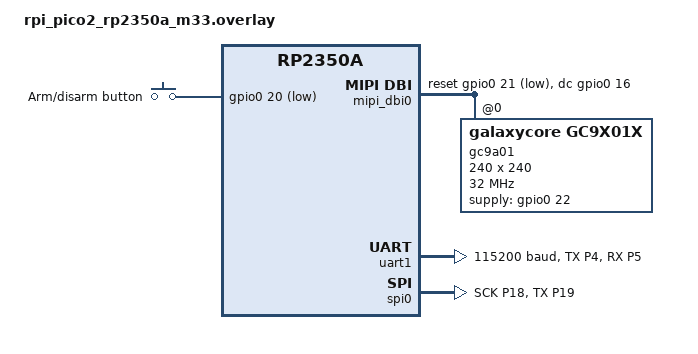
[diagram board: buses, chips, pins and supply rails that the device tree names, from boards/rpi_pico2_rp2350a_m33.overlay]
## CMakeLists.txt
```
cmake_minimum_required(VERSION 3.20.0)

find_package(Zephyr REQUIRED HINTS $ENV{ZEPHYR_BASE})
project(base_node)

target_sources(app PRIVATE
    src/main.c
    src/base_display.c
)

# Make the shared protocol header accessible
target_include_directories(app PRIVATE ${CMAKE_CURRENT_SOURCE_DIR}/../common)
```

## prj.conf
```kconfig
CONFIG_SERIAL=y
CONFIG_UART_INTERRUPT_DRIVEN=y

# Console
CONFIG_CONSOLE=y
CONFIG_UART_CONSOLE=y
CONFIG_PRINTK=y

# GPIO button interrupt on GP20
CONFIG_GPIO=y

# WS2812 RGB LED on Pico PIO GP28
CONFIG_LED_STRIP=y
CONFIG_WS2812_STRIP_RPI_PICO_PIO=y

# Logging
CONFIG_LOG=y
CONFIG_LOG_DEFAULT_LEVEL=3

CONFIG_MAIN_STACK_SIZE=3072
CONFIG_HEAP_MEM_POOL_SIZE=2048

# GC9A01 / GC9x01x display on SPI through Zephyr display API
CONFIG_SPI=y
CONFIG_DISPLAY=y
CONFIG_MIPI_DBI=y
CONFIG_MIPI_DBI_SPI=y
CONFIG_GC9X01X=y
```

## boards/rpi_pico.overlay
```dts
/*
 * base_node/boards/rpi_pico.overlay
 *
 * Configures UART0 on RP2040 Pico for communication with the sensor node.
 *
 * Pins:
 *   GP0 = TX  (connect to Sensor GP5/UART1-RX)
 *   GP1 = RX  (connect to Sensor GP4/UART1-TX)
 *
 * Baud rate: 115200
 */

&uart0 {
	status = "okay";
	current-speed = <115200>;
	pinctrl-0 = <&uart0_default>;
	pinctrl-names = "default";
};

&pinctrl {
	uart0_default: uart0_default {
		group1 {
			pinmux = <UART0_TX_P0>;   /* GP0 → TX */
		};
		group2 {
			pinmux = <UART0_RX_P1>;   /* GP1 → RX */
			input-enable;
		};
	};
};
```

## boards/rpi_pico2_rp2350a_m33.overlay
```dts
#include <zephyr/dt-bindings/led/led.h>
#include <zephyr/dt-bindings/pinctrl/rpi-pico-rp2350a-pinctrl.h>
#include <zephyr/dt-bindings/gpio/gpio.h>
#include <zephyr/dt-bindings/display/panel.h>

&pinctrl {
    uart1_default: uart1_default {
        group1 {
            pinmux = <UART1_TX_P4>;
        };

        group2 {
            pinmux = <UART1_RX_P5>;
            input-enable;
        };
    };

    ws2812_pio0_default: ws2812_pio0_default {
        group1 {
            pinmux = <PIO0_P28>;
        };
    };

    spi0_default: spi0_default {
        group1 {
            pinmux = <SPI0_SCK_P18>,
                     <SPI0_TX_P19>;
        };
    };

};

&uart1 {
    status = "okay";
    current-speed = <115200>;
    pinctrl-0 = <&uart1_default>;
    pinctrl-names = "default";
};

&pio0 {
    status = "okay";

    pio_ws2812: pio-ws2812 {
        compatible = "worldsemi,ws2812-rpi_pico-pio";
        status = "okay";
        pinctrl-0 = <&ws2812_pio0_default>;
        pinctrl-names = "default";
        bit-waveform = <3>, <3>, <4>;

        rgb_led: ws2812 {
            status = "okay";
            gpios = <&gpio0 28 GPIO_ACTIVE_HIGH>;
            chain-length = <1>;
            color-mapping = <LED_COLOR_ID_GREEN LED_COLOR_ID_RED LED_COLOR_ID_BLUE>;
            frequency = <800000>;
            reset-delay = <280>;
        };
    };
};


&spi0 {
    status = "okay";
    pinctrl-0 = <&spi0_default>;
    pinctrl-names = "default";
    cs-gpios = <&gpio0 17 GPIO_ACTIVE_LOW>;
};

/ {
    mipi_dbi0: mipi-dbi {
        compatible = "zephyr,mipi-dbi-spi";
        status = "okay";
        #address-cells = <1>;
        #size-cells = <0>;
        spi-dev = <&spi0>;
        dc-gpios = <&gpio0 16 GPIO_ACTIVE_HIGH>;
        reset-gpios = <&gpio0 21 GPIO_ACTIVE_LOW>;

        gc9a01: gc9a01@0 {
            compatible = "galaxycore,gc9x01x";
            reg = <0>;
            status = "okay";
            width = <240>;
            height = <240>;
            pixel-format = <PANEL_PIXEL_FORMAT_RGB_565>;
            mipi-max-frequency = <32000000>;
            display-inversion;
            orientation = "normal";
            supply-gpios = <&gpio0 22 GPIO_ACTIVE_HIGH>;
        };
    };
};

/ {
    chosen {
        zephyr,led-strip = &rgb_led;
        zephyr,display = &gc9a01;
    };

    aliases {
        led-strip = &rgb_led;
        sw0 = &arm_button;
    };

    buttons {
        compatible = "gpio-keys";

        arm_button: arm_button {
            gpios = <&gpio0 20 (GPIO_PULL_UP | GPIO_ACTIVE_LOW)>;
            label = "Arm/disarm button";
        };
    };
};
```

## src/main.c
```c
/*
 * base_node/src/main.c
 *
 * Base node — Raspberry Pi Pico 2 (RP2350)
 * - Talks to the sensor node over UART1
 * - GP20 button toggles ARMED / DISARMED using a GPIO interrupt callback
 * - WS2812 RGB LED on GP28 shows state:
 *      Blue  = DISARMED
 *      Green = ARMED
 *      Red   = ALARM / theft detected
 * - When ARMED, accelerometer, gyro, or hall-effect changes trigger alarm command
 */

#include <errno.h>
#include <stdlib.h>
#include <string.h>
#include <zephyr/kernel.h>
#include <zephyr/device.h>
#include <zephyr/drivers/uart.h>
#include <zephyr/drivers/gpio.h>
#include <zephyr/drivers/led_strip.h>
#include <zephyr/sys/printk.h>
#include "../../common/protocol.h"
#include "base_display.h"

#define COMMS_UART_NODE   DT_NODELABEL(uart1)
#define RGB_LED_NODE      DT_ALIAS(led_strip)
#define ARM_BUTTON_NODE   DT_ALIAS(sw0)

#define POLL_INTERVAL_MS  1000
#define RX_TIMEOUT_MS     500
#define ALARM_TIME_MS     1200
#define BUTTON_DEBOUNCE_MS 250

/* Tune these after seeing your real printed values. */
#define ACCEL_DELTA_THRESHOLD   60
#define GYRO_ABS_THRESHOLD      20
#define HALL_ABS_THRESHOLD      500

static const struct device *comms_uart;
static const struct device *rgb_led = DEVICE_DT_GET(RGB_LED_NODE);
static const struct gpio_dt_spec arm_button = GPIO_DT_SPEC_GET(ARM_BUTTON_NODE, gpios);
static struct gpio_callback arm_button_cb_data;

static volatile bool button_event;
static int64_t last_button_ms;
static bool armed;
static bool alarm_active;
static int64_t alarm_until_ms;

static bool rgb_ready;

static void status_rgb_set(uint8_t r, uint8_t g, uint8_t b)
{
    if (!rgb_ready) {
        return;
    }

    struct led_rgb pixel = {
        .r = r,
        .g = g,
        .b = b,
    };

    int ret = led_strip_update_rgb(rgb_led, &pixel, 1);
    if (ret != 0) {
        printk("[BASE] RGB update failed: %d\n", ret);
    }
}

static void update_state_led(void)
{
    if (alarm_active) {
        status_rgb_set(50, 0, 0);      /* red */
    } else if (armed) {
        status_rgb_set(0, 50, 0);      /* green */
    } else {
        status_rgb_set(0, 0, 40);      /* blue */
    }
}

static void arm_button_isr(const struct device *dev, struct gpio_callback *cb, uint32_t pins)
{
    ARG_UNUSED(dev);
    ARG_UNUSED(cb);
    ARG_UNUSED(pins);

    int64_t now = k_uptime_get();

    /* Simple ISR-side debounce. The main loop does the actual state change. */
    if ((now - last_button_ms) >= BUTTON_DEBOUNCE_MS) {
        last_button_ms = now;
        button_event = true;
    }
}

static void handle_button_event(void)
{
    if (!button_event) {
        return;
    }

    button_event = false;
    armed = !armed;
    alarm_active = false;

    printk("[BASE] System state: %s\n", armed ? "ARMED" : "DISARMED");
    update_state_led();
    struct base_display_values v = { .armed = armed, .alarm_active = alarm_active };
    base_display_update(&v);
}

static void uart_send_bytes(const uint8_t *buf, size_t len)
{
    for (size_t i = 0; i < len; i++) {
        uart_poll_out(comms_uart, buf[i]);
    }
}

static bool uart_recv_bytes(uint8_t *buf, size_t len)
{
    int64_t deadline = k_uptime_get() + RX_TIMEOUT_MS;

    for (size_t i = 0; i < len;) {
        unsigned char c;
        if (uart_poll_in(comms_uart, &c) == 0) {
            buf[i++] = c;
        } else {
            if (k_uptime_get() > deadline) {
                return false;
            }
            k_sleep(K_USEC(100));
        }
    }

    return true;
}

static bool send_command(proto_cmd_t cmd,
                         const uint8_t *payload, uint8_t payload_len,
                         proto_frame_t *rsp_out)
{
    proto_frame_t cmd_frame = {
        .stx = PROTO_STX,
        .cmd = (uint8_t)cmd,
        .len = payload_len,
    };

    if (payload_len > 0 && payload != NULL) {
        memcpy(cmd_frame.payload, payload, payload_len);
    }

    uint8_t tx_buf[4 + PROTO_MAX_PAYLOAD];
    size_t tx_len = proto_encode(&cmd_frame, tx_buf, sizeof(tx_buf));
    if (tx_len == 0) {
        printk("[BASE] Encode error\n");
        return false;
    }

    uart_send_bytes(tx_buf, tx_len);

    uint8_t hdr[3];
    uint8_t c;

    do {
        if (!uart_recv_bytes(&c, 1)) {
            printk("[BASE] No response/STX\n");
            return false;
        }
    } while (c != PROTO_STX);

    hdr[0] = c;

    if (!uart_recv_bytes(&hdr[1], 2)) {
        printk("[BASE] Incomplete response header\n");
        return false;
    }

    uint8_t rsp_len = hdr[2];
    if (rsp_len > PROTO_MAX_PAYLOAD) {
        printk("[BASE] Response payload too large: %u\n", rsp_len);
        return false;
    }

    uint8_t tail[PROTO_MAX_PAYLOAD + 1];
    if (!uart_recv_bytes(tail, rsp_len + 1u)) {
        printk("[BASE] Response payload timeout\n");
        return false;
    }

    uint8_t full[4 + PROTO_MAX_PAYLOAD];
    full[0] = hdr[0];
    full[1] = hdr[1];
    full[2] = hdr[2];
    memcpy(&full[3], tail, rsp_len + 1u);

    if (!proto_decode(full, 3u + rsp_len + 1u, rsp_out)) {
        printk("[BASE] Bad response CRC\n");
        return false;
    }

    return true;
}

static int16_t get_i16(const uint8_t *p)
{
    return (int16_t)(((uint16_t)p[0] << 8) | p[1]);
}

static bool send_alarm_command(void)
{
    proto_frame_t rsp;

    printk("[BASE] -> SOUND_ALARM\n");
    if (!send_command(CMD_SOUND_ALARM, NULL, 0, &rsp)) {
        printk("[BASE] Alarm command failed\n");
        return false;
    }

    if (rsp.cmd != RSP_ACK) {
        printk("[BASE] Alarm command unexpected response: 0x%02X\n", rsp.cmd);
        return false;
    }

    return true;
}

static bool detect_accel_theft(int16_t ax, int16_t ay, int16_t az)
{
    static bool have_prev;
    static int16_t prev_ax;
    static int16_t prev_ay;
    static int16_t prev_az;

    if (!have_prev) {
        prev_ax = ax;
        prev_ay = ay;
        prev_az = az;
        have_prev = true;
        return false;
    }

    int dx = abs(ax - prev_ax);
    int dy = abs(ay - prev_ay);
    int dz = abs(az - prev_az);

    prev_ax = ax;
    prev_ay = ay;
    prev_az = az;

    return (dx > ACCEL_DELTA_THRESHOLD ||
            dy > ACCEL_DELTA_THRESHOLD ||
            dz > ACCEL_DELTA_THRESHOLD);
}

static bool detect_gyro_theft(int16_t gx, int16_t gy, int16_t gz)
{
    return (abs(gx) > GYRO_ABS_THRESHOLD ||
            abs(gy) > GYRO_ABS_THRESHOLD ||
            abs(gz) > GYRO_ABS_THRESHOLD);
}

static bool detect_hall_theft(int16_t hall)
{
    return (hall > HALL_ABS_THRESHOLD || hall < -HALL_ABS_THRESHOLD);
}

static void trigger_alarm_if_needed(bool theft)
{
    if (!armed || !theft || alarm_active) {
        return;
    }

    printk("[BASE] THEFT DETECTED while ARMED\n");
    alarm_active = true;
    alarm_until_ms = k_uptime_get() + ALARM_TIME_MS;
    update_state_led();
    send_alarm_command();
}

static void handle_alarm_timeout(void)
{
    if (alarm_active && k_uptime_get() >= alarm_until_ms) {
        alarm_active = false;
        update_state_led();
        struct base_display_values v = { .armed = armed, .alarm_active = alarm_active };
        base_display_update(&v);
    }
}

static void do_ping(void)
{
    proto_frame_t rsp;
    printk("[BASE] -> PING\n");

    if (send_command(CMD_PING, NULL, 0, &rsp)) {
        printk("[BASE] <- %s\n", rsp.cmd == RSP_ACK ? "ACK" : "unexpected response");
    }
}

static void do_read_all(void)
{
    proto_frame_t rsp;

    if (!send_command(CMD_READ_ALL, NULL, 0, &rsp)) {
        return;
    }

    if (rsp.cmd != RSP_ALL || rsp.len != 16) {
        printk("[BASE] Unexpected READ_ALL response: cmd=0x%02X len=%u\n", rsp.cmd, rsp.len);
        return;
    }

    uint16_t light_raw = ((uint16_t)rsp.payload[0] << 8) | rsp.payload[1];
    int16_t ax = get_i16(&rsp.payload[2]);
    int16_t ay = get_i16(&rsp.payload[4]);
    int16_t az = get_i16(&rsp.payload[6]);
    int16_t gx = get_i16(&rsp.payload[8]);
    int16_t gy = get_i16(&rsp.payload[10]);
    int16_t gz = get_i16(&rsp.payload[12]);
    int16_t hall = get_i16(&rsp.payload[14]);

    bool accel_theft = detect_accel_theft(ax, ay, az);
    bool gyro_theft = detect_gyro_theft(gx, gy, gz);
    bool hall_theft = detect_hall_theft(hall);
    bool theft = accel_theft || gyro_theft || hall_theft;

    struct base_display_values display_values = {
        .armed = armed,
        .alarm_active = alarm_active,
        .accel_theft = accel_theft,
        .gyro_theft = gyro_theft,
        .hall_theft = hall_theft,
        .light_raw = light_raw,
        .ax = ax, .ay = ay, .az = az,
        .gx = gx, .gy = gy, .gz = gz,
        .hall = hall,
    };
    base_display_update(&display_values);

    printk("[BASE] %s light=%u acc=(%d,%d,%d) gyro=(%d,%d,%d) hall=%d\n",
           armed ? "ARMED" : "DISARMED",
           light_raw, ax, ay, az, gx, gy, gz, hall);

    printk("[BASE] theft flags: accel=%s gyro=%s hall=%s\n",
           accel_theft ? "YES" : "no",
           gyro_theft ? "YES" : "no",
           hall_theft ? "YES" : "no");

    trigger_alarm_if_needed(theft);
}

static int setup_button(void)
{
    if (!gpio_is_ready_dt(&arm_button)) {
        printk("[BASE] GP20 arm button GPIO not ready\n");
        return -ENODEV;
    }

    int ret = gpio_pin_configure_dt(&arm_button, GPIO_INPUT);
    if (ret != 0) {
        printk("[BASE] Button configure failed: %d\n", ret);
        return ret;
    }

    ret = gpio_pin_interrupt_configure_dt(&arm_button, GPIO_INT_EDGE_TO_ACTIVE);
    if (ret != 0) {
        printk("[BASE] Button interrupt configure failed: %d\n", ret);
        return ret;
    }

    gpio_init_callback(&arm_button_cb_data, arm_button_isr, BIT(arm_button.pin));
    ret = gpio_add_callback(arm_button.port, &arm_button_cb_data);
    if (ret != 0) {
        printk("[BASE] Button callback add failed: %d\n", ret);
        return ret;
    }

    printk("[BASE] GP20 arm/disarm button ready using GPIO interrupt\n");
    return 0;
}

int main(void)
{
    printk("=== Base Node starting ===\n");

    comms_uart = DEVICE_DT_GET(COMMS_UART_NODE);
    if (!device_is_ready(comms_uart)) {
        printk("[BASE] UART not ready\n");
        return -1;
    }

    rgb_ready = device_is_ready(rgb_led);
    if (!rgb_ready) {
        printk("[BASE] RGB LED not ready\n");
    } else {
        printk("[BASE] RGB LED ready\n");
    }

    if (setup_button() != 0) {
        printk("[BASE] Continuing without button\n");
    }

    if (base_display_init() != 0) {
        printk("[BASE] Continuing without display\n");
    }

    armed = false;
    alarm_active = false;
    update_state_led();

    k_sleep(K_MSEC(500));
    do_ping();

    while (1) {
        handle_button_event();
        handle_alarm_timeout();
        do_read_all();
        handle_button_event();
        handle_alarm_timeout();
        k_sleep(K_MSEC(POLL_INTERVAL_MS));
    }

    return 0;
}
```

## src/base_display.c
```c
/*
 * base_display.c  —  Upp-Lock base node display
 *
 * Target : 240×240 GC9A01 round TFT, RGB565, Zephyr gc9x01x SPI driver
 * Render : raw display_write(), no LVGL
 *
 * Design decisions for physical readability on 1.28":
 *   - Minimum text scale 2 (10×14 px glyphs) for labels
 *   - Scale 3 (15×21 px) for primary values
 *   - High-contrast colours only: white/bright-teal/bright-red on near-black
 *   - State banner fills full width (rect, not arc) — arcs via display API
 *     look poor without antialiasing; a solid chord band reads clearly
 *   - Sensor blocks split left/right of a centre lock icon
 *   - Trigger badges at bottom use filled rects with strong border contrast
 */

#include "base_display.h"

#include <errno.h>
#include <stdio.h>
#include <string.h>
#include <zephyr/device.h>
#include <zephyr/drivers/display.h>
#include <zephyr/kernel.h>
#include <zephyr/sys/printk.h>
#include <zephyr/sys/util.h>

/* ── Display geometry ─────────────────────────────────── */
#define DISPLAY_NODE  DT_CHOSEN(zephyr_display)
#define LCD_W  240
#define LCD_H  240
#define CX     120
#define CY     120

/* ── RGB565 macro ─────────────────────────────────────── */
#define RGB565(r,g,b) \
    ((uint16_t)((((r)&0xF8u)<<8)|(((g)&0xFCu)<<3)|((b)>>3)))

/*
 * Palette — all colours validated for visibility on IPS TFT:
 *   • Background is not pure black so the backlight doesn't blow out whites
 *   • State colours are at full saturation — no dim variants on-screen
 *   • Label text is mid-brightness, value text is near-white
 */
#define C_BG        RGB565( 10,  10,  20)   /* dark blue-black             */
#define C_DIVIDER   RGB565( 30,  40,  60)   /* subtle separator lines      */

/* State banner colours — solid, full saturation */
#define C_TEAL      RGB565(  0, 220, 160)   /* ARMED  — bright teal        */
#define C_TEAL_BG   RGB565(  0,  50,  36)   /* ARMED banner background     */
#define C_BLUE      RGB565( 60, 140, 255)   /* DISARMED — bright blue      */
#define C_BLUE_BG   RGB565(  8,  28,  70)   /* DISARMED banner background  */
#define C_RED       RGB565(255,  40,  60)   /* ALARM  — bright red         */
#define C_RED_BG    RGB565( 70,   6,  12)   /* ALARM banner background     */

/* Data value colours — bright enough to read at arm's length */
#define C_WHITE     RGB565(240, 245, 255)   /* primary values              */
#define C_CYAN      RGB565( 80, 230, 255)   /* light sensor value          */
#define C_ACC_VAL   RGB565(140, 255, 200)   /* accel values (mint green)   */
#define C_GYR_VAL   RGB565(160, 170, 255)   /* gyro values (lavender)      */
#define C_HALL_VAL  RGB565(200, 220, 255)   /* hall value (ice blue)       */
#define C_AMBER     RGB565(255, 185,   0)   /* triggered badge / warning   */
#define C_AMBER_BG  RGB565( 45,  28,   0)   /* triggered badge bg          */

/* Label / dim text — still clearly visible, just secondary */
#define C_LABEL     RGB565(100, 140, 160)   /* section titles              */
#define C_HINT      RGB565( 60,  80, 100)   /* GP20 hint at bottom         */
#define C_BADGE_OFF RGB565( 25,  35,  55)   /* inactive badge fill         */
#define C_BADGE_BDR RGB565( 50,  70,  100)  /* inactive badge border       */

/* ── Globals ───────────────────────────────────────────── */
static const struct device *display_dev;
static bool display_ready;

/* ── Scan-line draw buffer (one row at a time) ─────────── */
static uint16_t linebuf[LCD_W];

static void rect(int x, int y, int w, int h, uint16_t color)
{
    if (!display_ready || w <= 0 || h <= 0) return;
    if (x < 0) { w += x; x = 0; }
    if (y < 0) { h += y; y = 0; }
    if (x >= LCD_W || y >= LCD_H) return;
    if (x + w > LCD_W) w = LCD_W - x;
    if (y + h > LCD_H) h = LCD_H - y;
    if (w <= 0 || h <= 0) return;

    for (int i = 0; i < w; i++) linebuf[i] = color;
    struct display_buffer_descriptor d = {
        .buf_size = (size_t)w * 2u,
        .width    = (uint16_t)w,
        .height   = 1,
        .pitch    = (uint16_t)w,
    };
    for (int row = 0; row < h; row++)
        display_write(display_dev, x, y + row, &d, linebuf);
}

/* horizontal line helper */
static void hline(int x, int y, int w, uint16_t color)
{
    rect(x, y, w, 1, color);
}

/* ── 5×7 bitmap font ───────────────────────────────────── */
struct glyph { char c; uint8_t col[5]; };
static const struct glyph font5x7[] = {
    {' ',{0x00,0x00,0x00,0x00,0x00}},
    {'-',{0x08,0x08,0x08,0x08,0x08}},
    {'+',{0x08,0x08,0x3E,0x08,0x08}},
    {'.',{0x00,0x60,0x60,0x00,0x00}},
    {':',{0x00,0x36,0x36,0x00,0x00}},
    {'0',{0x3E,0x51,0x49,0x45,0x3E}},
    {'1',{0x00,0x42,0x7F,0x40,0x00}},
    {'2',{0x42,0x61,0x51,0x49,0x46}},
    {'3',{0x21,0x41,0x45,0x4B,0x31}},
    {'4',{0x18,0x14,0x12,0x7F,0x10}},
    {'5',{0x27,0x45,0x45,0x45,0x39}},
    {'6',{0x3C,0x4A,0x49,0x49,0x30}},
    {'7',{0x01,0x71,0x09,0x05,0x03}},
    {'8',{0x36,0x49,0x49,0x49,0x36}},
    {'9',{0x06,0x49,0x49,0x29,0x1E}},
    {'A',{0x7E,0x11,0x11,0x11,0x7E}},
    {'B',{0x7F,0x49,0x49,0x49,0x36}},
    {'C',{0x3E,0x41,0x41,0x41,0x22}},
    {'D',{0x7F,0x41,0x41,0x22,0x1C}},
    {'E',{0x7F,0x49,0x49,0x49,0x41}},
    {'F',{0x7F,0x09,0x09,0x09,0x01}},
    {'G',{0x3E,0x41,0x49,0x49,0x7A}},
    {'H',{0x7F,0x08,0x08,0x08,0x7F}},
    {'I',{0x00,0x41,0x7F,0x41,0x00}},
    {'J',{0x20,0x40,0x41,0x3F,0x01}},
    {'K',{0x7F,0x08,0x14,0x22,0x41}},
    {'L',{0x7F,0x40,0x40,0x40,0x40}},
    {'M',{0x7F,0x02,0x0C,0x02,0x7F}},
    {'N',{0x7F,0x04,0x08,0x10,0x7F}},
    {'O',{0x3E,0x41,0x41,0x41,0x3E}},
    {'P',{0x7F,0x09,0x09,0x09,0x06}},
    {'Q',{0x3E,0x41,0x51,0x21,0x5E}},
    {'R',{0x7F,0x09,0x19,0x29,0x46}},
    {'S',{0x46,0x49,0x49,0x49,0x31}},
    {'T',{0x01,0x01,0x7F,0x01,0x01}},
    {'U',{0x3F,0x40,0x40,0x40,0x3F}},
    {'V',{0x1F,0x20,0x40,0x20,0x1F}},
    {'W',{0x3F,0x40,0x38,0x40,0x3F}},
    {'X',{0x63,0x14,0x08,0x14,0x63}},
    {'Y',{0x07,0x08,0x70,0x08,0x07}},
    {'Z',{0x61,0x51,0x49,0x45,0x43}},
    {'a',{0x20,0x54,0x54,0x54,0x78}},
    {'c',{0x38,0x44,0x44,0x44,0x20}},
    {'d',{0x38,0x44,0x44,0x48,0x7F}},
    {'e',{0x38,0x54,0x54,0x54,0x18}},
    {'g',{0x08,0x54,0x54,0x54,0x3C}},
    {'h',{0x7F,0x08,0x04,0x04,0x78}},
    {'i',{0x00,0x44,0x7D,0x40,0x00}},
    {'l',{0x00,0x41,0x7F,0x40,0x00}},
    {'m',{0x7C,0x04,0x18,0x04,0x78}},
    {'n',{0x7C,0x08,0x04,0x04,0x78}},
    {'o',{0x38,0x44,0x44,0x44,0x38}},
    {'r',{0x7C,0x08,0x04,0x04,0x08}},
    {'s',{0x48,0x54,0x54,0x54,0x20}},
    {'t',{0x04,0x3F,0x44,0x40,0x20}},
    {'u',{0x3C,0x40,0x40,0x20,0x7C}},
    {'w',{0x3C,0x40,0x30,0x40,0x3C}},
    {'x',{0x44,0x28,0x10,0x28,0x44}},
    {'y',{0x0C,0x50,0x50,0x50,0x3C}},
};

static const uint8_t *glyph_for(char c)
{
    for (size_t i = 0; i < ARRAY_SIZE(font5x7); i++)
        if (font5x7[i].c == c) return font5x7[i].col;
    return font5x7[0].col;
}

/*
 * Draw a string at (x,y), scale pixels per dot, colour on bg.
 * Glyph cell = (5+1)*scale wide, 7*scale tall.
 */
static void text(int x, int y, const char *s,
                 uint16_t color, uint16_t bg, int scale)
{
    if (!display_ready || scale < 1) return;
    for (; *s; s++) {
        const uint8_t *g = glyph_for(*s);
        for (int col = 0; col < 5; col++) {
            for (int row = 0; row < 7; row++) {
                uint16_t c = (g[col] & BIT(row)) ? color : bg;
                rect(x + col*scale, y + row*scale, scale, scale, c);
            }
        }
        rect(x + 5*scale, y, scale, 7*scale, bg); /* inter-char gap */
        x += 6 * scale;
    }
}

/* centred text */
static void ctext(int y, const char *s, uint16_t fg, uint16_t bg, int scale)
{
    int w = (int)strlen(s) * 6 * scale;
    text((LCD_W - w) / 2, y, s, fg, bg, scale);
}

/* right-aligned text */
static void rtext(int rx, int y, const char *s,
                  uint16_t fg, uint16_t bg, int scale)
{
    int w = (int)strlen(s) * 6 * scale;
    text(rx - w, y, s, fg, bg, scale);
}

/* ── Chord-clipped banner ──────────────────────────────────────────────────
 * Draws a horizontal filled band from y0..y1 clipped to the circle of
 * radius R centred at (CX,CY).  Gives the "arc band" look without any
 * trigonometry or pixel-by-pixel loops.
 */
static void chord_band(int y0, int y1, uint16_t color)
{
    const int R  = 118;   /* clip radius — 1 px inside the 240 px circle */
    const int R2 = R * R;
    for (int y = y0; y <= y1; y++) {
        int dy  = y - CY;
        int dx2 = R2 - dy*dy;
        if (dx2 < 0) continue;
        /* integer sqrt via bisection — runs ≤17 iterations */
        int dx = R;
        while (dx * dx > dx2) dx--;
        int x0 = CX - dx, x1_v = CX + dx;
        if (x0 < 0)     x0   = 0;
        if (x1_v >= LCD_W) x1_v = LCD_W - 1;
        if (x1_v >= x0)
            rect(x0, y, x1_v - x0 + 1, 1, color);
    }
}

/* ── Lock icon  (pixel art, 20×24 at given top-left) ──────────────────────*/
static void draw_lock(int cx2, int top_y, uint16_t color, bool open)
{
    /*
     * Shackle: two vertical lines + top arc approximated as 3-pixel top.
     * Body: 20×13 rectangle with a keyhole.
     */
    int lx = cx2 - 10;   /* left edge of body */
    int sh_top = top_y;
    int body_y = sh_top + 11;

    /* shackle */
    int sl = lx + 3, sr = lx + 16;
    if (open) {
        /* right arm lifted off body */
        for (int y = sh_top; y < sh_top + 7; y++) rect(sl, y, 2, 1, color);
        hline(sl, sh_top, sr - sl + 2, color);
        hline(sl, sh_top+1, sr - sl + 2, color);
        /* right pillar stops 4px above body */
        for (int y = body_y - 4; y < body_y; y++) rect(sr, y, 2, 1, color);
    } else {
        /* both pillars go from sh_top down to body */
        for (int y = sh_top; y < body_y; y++) {
            rect(sl, y, 2, 1, color);
            rect(sr, y, 2, 1, color);
        }
        hline(sl, sh_top, sr - sl + 2, color);
        hline(sl, sh_top+1, sr - sl + 2, color);
    }

    /* body outline */
    int bw = 20, bh = 13;
    hline(lx,      body_y,        bw, color);
    hline(lx,      body_y+bh-1,   bw, color);
    for (int y = body_y; y < body_y+bh; y++) {
        rect(lx,      y, 1, 1, color);
        rect(lx+bw-1, y, 1, 1, color);
    }

    /* keyhole — circle + slot */
    rect(cx2-2, body_y+3, 5, 4, color);   /* rough circle */
    rect(cx2-1, body_y+6, 3, 4, color);   /* slot down    */
}

/* ── Bordered badge (36×16) ────────────────────────────── */
static void badge(int cx2, int cy2, const char *label, bool active)
{
    uint16_t fill = active ? C_AMBER_BG  : C_BADGE_OFF;
    uint16_t bdr  = active ? C_AMBER     : C_BADGE_BDR;
    uint16_t fg   = active ? C_AMBER     : C_LABEL;

    int x = cx2 - 18, y = cy2 - 8;
    rect(x, y, 36, 16, fill);
    hline(x,    y,    36, bdr);
    hline(x,    y+15, 36, bdr);
    for (int i = 0; i < 16; i++) {
        rect(x,    y+i, 1, 1, bdr);
        rect(x+35, y+i, 1, 1, bdr);
    }
    /* label centred, scale 1 — badges are tight */
    int lw = (int)strlen(label) * 6;
    text(cx2 - lw/2, cy2 - 3, label, fg, fill, 1);
}

/* ── IMU sub-block (label + X/Y/Z rows) ───────────────────
 * lx,ty = top-left corner; field width = 46 px at scale 1 (labels+value)
 * scale 1 for labels, scale 2 for numeric values
 */
static void imu_block(int lx, int ty,
                      const char *title, uint16_t title_col,
                      int vx, int vy, int vz,
                      uint16_t val_col, bool triggered)
{
    uint16_t tc  = triggered ? C_AMBER : title_col;
    uint16_t vc  = triggered ? C_AMBER : val_col;
    char buf[8];

    /* title label at scale 2 */
    text(lx, ty, title, tc, C_BG, 2);

    /* thin divider */
    hline(lx, ty + 15, 56, C_DIVIDER);

    /* X row */
    text(lx,    ty+19, "X", C_LABEL, C_BG, 1);
    snprintf(buf, sizeof(buf), "%+5d", vx);
    text(lx+8,  ty+19, buf, vc, C_BG, 1);

    /* Y row */
    text(lx,    ty+29, "Y", C_LABEL, C_BG, 1);
    snprintf(buf, sizeof(buf), "%+5d", vy);
    text(lx+8,  ty+29, buf, vc, C_BG, 1);

    /* Z row */
    text(lx,    ty+39, "Z", C_LABEL, C_BG, 1);
    snprintf(buf, sizeof(buf), "%+5d", vz);
    text(lx+8,  ty+39, buf, vc, C_BG, 1);
}

/* ── Public API ─────────────────────────────────────────── */

int base_display_init(void)
{
    display_dev = DEVICE_DT_GET(DISPLAY_NODE);
    if (!device_is_ready(display_dev)) {
        printk("[DISPLAY] Device not ready\n");
        display_ready = false;
        return -ENODEV;
    }

    display_blanking_off(display_dev);
    display_ready = true;

    rect(0, 0, LCD_W, LCD_H, C_BG);

    /* Splash — scale 3 is 15×21 px per glyph, clearly legible */
    ctext(88,  "UPP",  C_TEAL,  C_BG, 3);
    ctext(114, "LOCK", C_WHITE, C_BG, 3);

    k_sleep(K_MSEC(700));
    return 0;
}

void base_display_update(const struct base_display_values *v)
{
    if (!display_ready || v == NULL) return;

    /* Pick state palette */
    uint16_t s_fg, s_bg;
    const char *s_str;
    if (v->alarm_active) {
        s_fg = C_RED;  s_bg = C_RED_BG;  s_str = "ALARM";
    } else if (v->armed) {
        s_fg = C_TEAL; s_bg = C_TEAL_BG; s_str = "ARMED";
    } else {
        s_fg = C_BLUE; s_bg = C_BLUE_BG; s_str = "DISARMED";
    }

    /* ── Clear everything ── */
    rect(0, 0, LCD_W, LCD_H, C_BG);

    /*
     * Layout (y coordinates, 240 px tall):
     *
     *   y=  0..27   State banner (chord-clipped)
     *   y= 30..44   LIGHT label + value
     *   y= 48       horizontal divider
     *   y= 50..105  IMU blocks left (ACC) + right (GYR) + lock icon centre
     *   y=108       horizontal divider
     *   y=112..130  HALL label + value
     *   y=134       horizontal divider
     *   y=138..162  Trigger badges
     *   y=168..178  GP20 hint
     *
     * Safe x zone inside 240px circle at these y values is ~30..210.
     * All content respects that margin.
     */

    /* ── 1. State banner ── */
    chord_band(0, 27, s_bg);
    /* bright 2-px bottom edge of banner */
    hline(0, 26, LCD_W, s_fg);
    hline(0, 27, LCD_W, s_fg);
    /* state label centred, scale 2 (12×14 px glyphs) */
    ctext(6, s_str, s_fg, s_bg, 2);

    /* ── 2. LIGHT reading ── */
    {
        char buf[10];
        /* label scale 1, value scale 2 */
        ctext(32, "LIGHT", C_LABEL, C_BG, 1);
        snprintf(buf, sizeof(buf), "%u", v->light_raw);
        ctext(42, buf, C_CYAN, C_BG, 2);
    }

    /* ── 3. Horizontal divider ── */
    hline(30, 60, 180, C_DIVIDER);

    /* ── 4. Left IMU block — ACC  (x=30..85) ── */
    imu_block(30, 64,
              "ACC", C_LABEL,
              v->ax, v->ay, v->az,
              C_ACC_VAL, v->accel_theft);

    /* ── 5. Lock icon (centre) ── */
    draw_lock(CX, 68, s_fg, v->alarm_active);

    /* ── 6. Right IMU block — GYR (x=154..209) ── */
    imu_block(154, 64,
              "GYR", C_LABEL,
              v->gx, v->gy, v->gz,
              C_GYR_VAL, v->gyro_theft);

    /* ── 7. Horizontal divider ── */
    hline(30, 112, 180, C_DIVIDER);

    /* ── 8. HALL reading ── */
    {
        char buf[10];
        uint16_t hc = v->hall_theft ? C_AMBER : C_HALL_VAL;
        ctext(116, "HALL", C_LABEL, C_BG, 1);
        snprintf(buf, sizeof(buf), "%+d", (int)v->hall);
        ctext(126, buf, hc, C_BG, 2);
    }

    /* ── 9. Horizontal divider ── */
    hline(30, 145, 180, C_DIVIDER);

    /* ── 10. Trigger badges ── */
    badge( 70, 158, "ACC", v->accel_theft);
    badge(120, 158, "GYR", v->gyro_theft);
    badge(170, 158, "MAG", v->hall_theft);

    /* ── 11. GP20 hint ── */
    ctext(172, v->armed ? "GP20 DISARM" : "GP20 ARM",
          C_HINT, C_BG, 1);
}
```

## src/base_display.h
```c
#ifndef BASE_DISPLAY_H
#define BASE_DISPLAY_H

#include <stdbool.h>
#include <stdint.h>

struct base_display_values {
    bool armed;
    bool alarm_active;
    bool accel_theft;
    bool gyro_theft;
    bool hall_theft;
    uint16_t light_raw;
    int16_t ax;
    int16_t ay;
    int16_t az;
    int16_t gx;
    int16_t gy;
    int16_t gz;
    int16_t hall;
};

int base_display_init(void);
void base_display_update(const struct base_display_values *v);

#endif /* BASE_DISPLAY_H */
```
